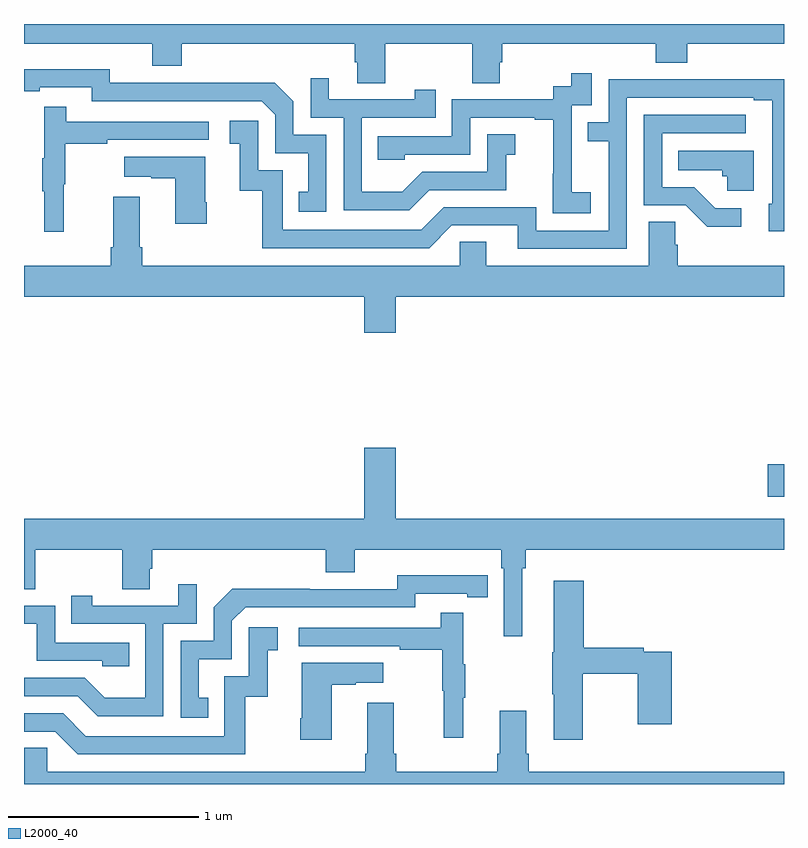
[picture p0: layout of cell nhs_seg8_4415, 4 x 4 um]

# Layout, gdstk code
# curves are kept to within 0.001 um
import gdstk
lib = gdstk.Library(unit=1e-6, precision=1e-09)
def R(c, l, rs):  # rectangles x0, y0, x1, y1
    for r in rs: c.add(gdstk.rectangle(r[:2], r[2:], *l))
def P(c, l, *ps):  # polygons
    for p in ps: c.add(gdstk.Polygon(p, *l))
L2000_40 = (2000, 40)

nhs_seg8_4415 = lib.new_cell('nhs_seg8_4415')
R(nhs_seg8_4415, L2000_40, [(382.914,1151.411,383,1151.582)])
P(nhs_seg8_4415, L2000_40, [(380.901,1153.796),(381.358,1153.796),(381.358,1153.588),(381.505,1153.588),(381.505,1153.698),(381.518,1153.698),(381.518,1153.796),(382.325,1153.796),(382.325,1153.697),(382.49,1153.697),(382.49,1153.796),(383,1153.796),(383,1153.9),(379,1153.9),(379,1153.796),(379.676,1153.796),(379.676,1153.679),(379.829,1153.679),(379.829,1153.796),(380.741,1153.796),(380.741,1153.698),(380.753,1153.698),(380.753,1153.588),(380.901,1153.588)],
  [(380.592,1153.317),(380.418,1153.317),(380.418,1153.494),(380.32,1153.592),(379.912,1153.592),(379.912,1153.59),(379.452,1153.59),(379.452,1153.663),(379,1153.662),(379,1153.546),(379.084,1153.546),(379.084,1153.566),(379.356,1153.566),(379.356,1153.494),(380.25,1153.494),(380.322,1153.422),(380.322,1153.221),(380.495,1153.221),(380.495,1153.017),(380.446,1153.017),(380.446,1152.912),(380.592,1152.912)],
  [(381.982,1153.015),(381.884,1153.015),(381.884,1153.244),(381.882,1153.244),(381.882,1153.473),(381.987,1153.473),(381.987,1153.642),(381.879,1153.642),(381.879,1153.572),(381.786,1153.572),(381.786,1153.503),(381.252,1153.503),(381.252,1153.308),(380.863,1153.308),(380.863,1153.185),(381.003,1153.185),(381.003,1153.212),(381.348,1153.212),(381.348,1153.407),(381.689,1153.407),(381.689,1153.395),(381.785,1153.395),(381.785,1153.111),(381.784,1153.111),(381.784,1152.905),(381.982,1152.905)],
  [(381.133,1153.026),(381.537,1153.026),(381.537,1153.211),(381.586,1153.211),(381.586,1153.321),(381.438,1153.321),(381.438,1153.122),(381.096,1153.122),(380.992,1153.018),(380.778,1153.018),(380.778,1153.407),(381.167,1153.407),(381.167,1153.555),(381.056,1153.555),(381.056,1153.503),(380.605,1153.503),(380.605,1153.615),(380.508,1153.615),(380.508,1153.407),(380.682,1153.407),(380.682,1152.921),(381.028,1152.921)],
  [(382.173,1153.512),(382.841,1153.512),(382.841,1153.5),(382.938,1153.5),(382.938,1152.954),(382.919,1152.954),(382.919,1152.81),(383,1152.81),(383,1153.61),(382.573,1153.61),(382.573,1153.608),(382.077,1153.608),(382.077,1153.383),(381.967,1153.383),(381.967,1153.282),(382.077,1153.282),(382.077,1152.813),(381.696,1152.813),(381.696,1152.936),(381.21,1152.936),(381.09,1152.816),(380.361,1152.816),(380.361,1153.131),(380.232,1153.131),(380.232,1153.39),(380.082,1153.39),(380.082,1153.269),(380.135,1153.269),(380.135,1153.023),(380.253,1153.023),(380.253,1152.72),(381.132,1152.72),(381.252,1152.84),(381.599,1152.84),(381.599,1152.717),(382.173,1152.717)],
  [(379.208,1153.056),(379.216,1153.056),(379.216,1153.27),(379.439,1153.27),(379.439,1153.29),(379.972,1153.29),(379.972,1153.386),(379.223,1153.386),(379.223,1153.465),(379.106,1153.465),(379.106,1153.193),(379.095,1153.193),(379.095,1153.019),(379.106,1153.019),(379.106,1152.807),(379.208,1152.807)],
  [(382.774,1152.93),(382.639,1152.93),(382.528,1153.041),(382.359,1153.041),(382.359,1153.326),(382.798,1153.326),(382.798,1153.422),(382.263,1153.422),(382.263,1152.945),(382.482,1152.945),(382.595,1152.833),(382.774,1152.833)],
  [(382.84,1153.234),(382.444,1153.234),(382.444,1153.13),(382.675,1153.13),(382.675,1153.098),(382.701,1153.098),(382.701,1153.022),(382.84,1153.022)],
  [(379.962,1152.961),(379.954,1152.961),(379.954,1153.201),(379.527,1153.201),(379.527,1153.097),(379.67,1153.097),(379.67,1153.087),(379.796,1153.087),(379.796,1152.849),(379.962,1152.849)],
  [(380.956,1152.464),(383,1152.464),(383,1152.628),(382.442,1152.628),(382.442,1152.737),(382.428,1152.737),(382.428,1152.86),(382.289,1152.86),(382.289,1152.628),(381.433,1152.628),(381.433,1152.755),(381.294,1152.755),(381.294,1152.628),(379.622,1152.628),(379.622,1152.724),(379.609,1152.724),(379.609,1152.991),(379.469,1152.991),(379.469,1152.724),(379.457,1152.724),(379.457,1152.628),(379,1152.628),(379,1152.464),(380.792,1152.464),(380.792,1152.276),(380.956,1152.276)],
  [(381.622,1151.036),(381.641,1151.036),(381.641,1151.132),(383,1151.132),(383,1151.296),(380.956,1151.296),(380.956,1151.671),(380.792,1151.671),(380.792,1151.296),(379,1151.296),(379,1150.924),(379.059,1150.924),(379.059,1151.132),(379.516,1151.132),(379.516,1150.924),(379.663,1150.924),(379.663,1151.034),(379.676,1151.034),(379.676,1151.132),(380.588,1151.132),(380.588,1151.015),(380.74,1151.015),(380.74,1151.132),(381.512,1151.132),(381.512,1151.036),(381.525,1151.036),(381.525,1150.677),(381.622,1150.677)],
  [(379.97,1150.353),(379.921,1150.353),(379.921,1150.557),(380.094,1150.557),(380.094,1150.758),(380.166,1150.83),(381.06,1150.83),(381.06,1150.902),(381.332,1150.902),(381.332,1150.882),(381.44,1150.882),(381.44,1150.998),(380.964,1150.999),(380.964,1150.926),(380.504,1150.926),(380.504,1150.928),(380.096,1150.928),(379.998,1150.83),(379.998,1150.653),(379.824,1150.653),(379.824,1150.248),(379.97,1150.248)],
  [(381.942,1150.48),(382.231,1150.48),(382.231,1150.215),(382.409,1150.215),(382.409,1150.596),(382.262,1150.596),(382.262,1150.616),(381.947,1150.616),(381.947,1150.969),(381.788,1150.969),(381.788,1150.593),(381.781,1150.593),(381.781,1150.372),(381.788,1150.372),(381.788,1150.134),(381.942,1150.134)],
  [(379.734,1150.743),(379.908,1150.743),(379.908,1150.951),(379.811,1150.951),(379.811,1150.839),(379.36,1150.839),(379.36,1150.891),(379.249,1150.891),(379.249,1150.743),(379.638,1150.743),(379.638,1150.354),(379.424,1150.354),(379.32,1150.458),(379,1150.458),(379,1150.362),(379.283,1150.362),(379.388,1150.257),(379.734,1150.257)],
  [(379.553,1150.644),(379.164,1150.644),(379.164,1150.839),(379,1150.839),(379,1150.743),(379.068,1150.743),(379.068,1150.548),(379.413,1150.548),(379.413,1150.521),(379.553,1150.521)],
  [(381.311,1150.355),(381.322,1150.355),(381.322,1150.529),(381.311,1150.529),(381.311,1150.801),(381.193,1150.801),(381.193,1150.722),(380.445,1150.722),(380.445,1150.626),(380.977,1150.626),(380.977,1150.606),(381.201,1150.606),(381.201,1150.392),(381.208,1150.392),(381.208,1150.143),(381.311,1150.143)],
  [(380.164,1150.359),(380.282,1150.359),(380.282,1150.605),(380.335,1150.605),(380.335,1150.726),(380.184,1150.726),(380.184,1150.467),(380.055,1150.467),(380.055,1150.152),(379.326,1150.152),(379.206,1150.272),(379,1150.272),(379,1150.176),(379.164,1150.176),(379.284,1150.056),(380.164,1150.056)],
  [(380.62,1150.423),(380.747,1150.423),(380.747,1150.433),(380.89,1150.433),(380.89,1150.537),(380.462,1150.537),(380.462,1150.246),(380.455,1150.246),(380.455,1150.134),(380.62,1150.134)],
  [(379,1150.091),(379,1149.9),(383,1149.9),(383,1149.964),(381.656,1149.964),(381.656,1150.06),(381.643,1150.06),(381.643,1150.285),(381.503,1150.285),(381.503,1150.06),(381.491,1150.06),(381.491,1149.964),(380.96,1149.964),(380.96,1150.06),(380.947,1150.06),(380.947,1150.327),(380.807,1150.327),(380.807,1150.06),(380.795,1150.06),(380.795,1149.964),(379.122,1149.964),(379.122,1150.091)])

lib.write_gds('nhs_seg8_4415.gds')
